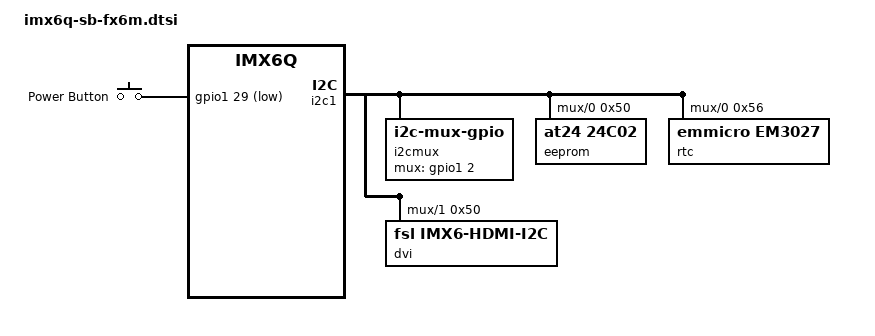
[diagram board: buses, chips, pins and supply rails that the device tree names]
/*
 * Copyright 2014 CompuLab Ltd.
 *
 * Author: Valentin Raevsky <valentin@compulab.co.il>
 *
 * The code contained herein is licensed under the GNU General Public
 * License. You may obtain a copy of the GNU General Public License
 * Version 2 or later at the following locations:
 *
 * http://www.opensource.org/licenses/gpl-license.html
 * http://www.gnu.org/copyleft/gpl.html
 */

#include "imx6q-sb-fx6x.dtsi"

/ {
	eth@pcie {
		compatible = "intel,i211";
		local-mac-address = [FF FF FF FF FF FF];
		status = "okay";
	};

	gpio-keys {
		compatible = "gpio-keys";
		power {
			label = "Power Button";
			gpios = <&gpio1 29 1>;
			linux,code = <116>; /* KEY_POWER */
			gpio-key,wakeup;
		};
	};

	i2cmux {
		compatible = "i2c-mux-gpio";
		#address-cells = <1>;
		#size-cells = <0>;
		mux-gpios = <&gpio1 2 0>;
		i2c-parent = <&i2c1>;

		i2c@0 {
			reg = <0>;
			#address-cells = <1>;
			#size-cells = <0>;

			eeprom@50 {
				compatible = "at24,24c02";
				reg = <0x50>;
				pagesize = <16>;
			};

			rtc@56 {
				compatible = "emmicro,em3027";
				reg = <0x56>;
			};
		};

		i2c@1 {
			reg = <1>;
			#address-cells = <1>;
			#size-cells = <0>;

			dvi: edid@50 {
				compatible = "fsl,imx6-hdmi-i2c";
				reg = <0x50>;
			};
		};
	};
};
